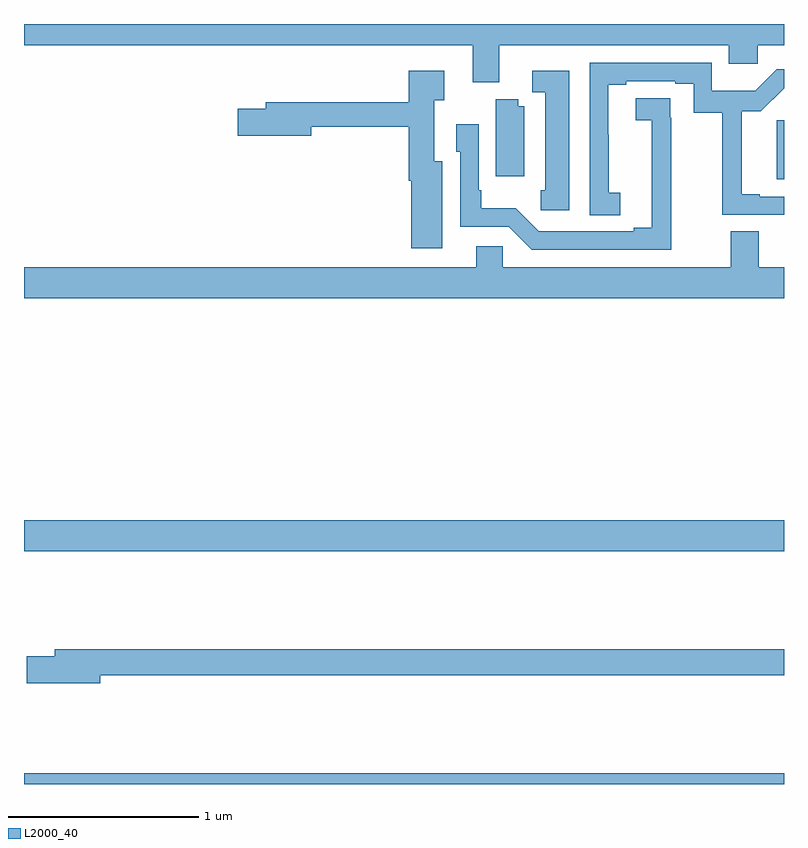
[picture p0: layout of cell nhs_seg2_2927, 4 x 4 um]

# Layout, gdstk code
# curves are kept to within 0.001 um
import gdstk
lib = gdstk.Library(unit=1e-6, precision=1e-09)
def R(c, l, rs):  # rectangles x0, y0, x1, y1
    for r in rs: c.add(gdstk.rectangle(r[:2], r[2:], *l))
def P(c, l, *ps):  # polygons
    for p in ps: c.add(gdstk.Polygon(p, *l))
L2000_40 = (2000, 40)

nhs_seg2_2927 = lib.new_cell('nhs_seg2_2927')
R(nhs_seg2_2927, L2000_40, [(265,591.8,269,591.856), (265,593.024,269,593.188), (268.961,594.983,269,595.293)])
P(nhs_seg2_2927, L2000_40, [(267.502,595.688),(268.709,595.688),(268.709,595.59),(268.861,595.59),(268.861,595.688),(269,595.688),(269,595.8),(265,595.8),(265,595.688),(267.362,595.688),(267.362,595.494),(267.502,595.494)],
  [(268.138,594.913),(268.077,594.913),(268.077,595.217),(268.075,595.217),(268.075,595.48),(268.171,595.48),(268.171,595.5),(268.427,595.5),(268.427,595.486),(268.524,595.486),(268.524,595.333),(268.675,595.333),(268.675,594.795),(269,594.795),(269,594.891),(268.873,594.891),(268.873,594.904),(268.778,594.904),(268.778,595.341),(268.877,595.341),(269,595.463),(269,595.563),(268.962,595.563),(268.849,595.45),(268.62,595.45),(268.62,595.596),(267.978,595.596),(267.978,594.793),(268.138,594.793)],
  [(267.871,595.555),(267.675,595.555),(267.675,595.44),(267.743,595.44),(267.743,594.924),(267.721,594.924),(267.721,594.819),(267.871,594.819)],
  [(267.202,595.078),(267.16,595.078),(267.16,595.399),(267.211,595.399),(267.211,595.555),(267.026,595.555),(267.026,595.387),(266.273,595.387),(266.273,595.353),(266.124,595.353),(266.124,595.211),(266.512,595.211),(266.512,595.258),(267.026,595.258),(267.026,594.974),(267.038,594.974),(267.038,594.621),(267.202,594.621)],
  [(268.406,595.307),(268.4,595.307),(268.4,595.409),(268.221,595.409),(268.221,595.294),(268.303,595.294),(268.304,594.728),(268.208,594.728),(268.208,594.708),(267.708,594.708),(267.587,594.829),(267.406,594.829),(267.406,594.925),(267.393,594.925),(267.393,595.273),(267.276,595.273),(267.276,595.128),(267.297,595.128),(267.297,594.732),(267.552,594.732),(267.672,594.612),(268.406,594.612)],
  [(267.634,595.366),(267.602,595.366),(267.602,595.403),(267.482,595.403),(267.482,594.999),(267.634,594.999)],
  [(269,594.52),(268.867,594.52),(268.867,594.71),(268.72,594.71),(268.72,594.52),(267.519,594.52),(267.519,594.63),(267.38,594.63),(267.38,594.52),(265,594.52),(265,594.356),(269,594.356)],
  [(265.402,592.372),(269,592.372),(269,592.508),(265.163,592.508),(265.163,592.472),(265.014,592.472),(265.014,592.33),(265.402,592.33)])

lib.write_gds('nhs_seg2_2927.gds')
